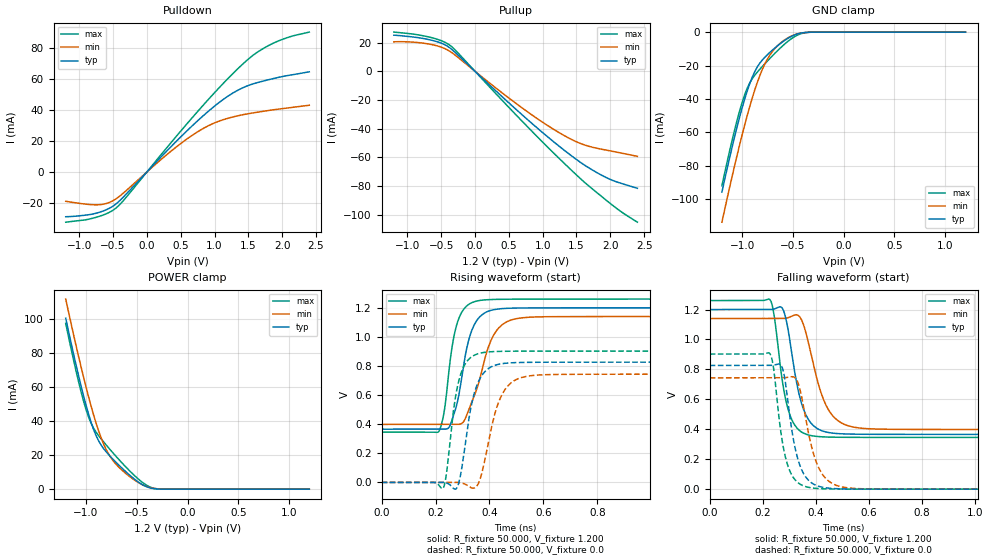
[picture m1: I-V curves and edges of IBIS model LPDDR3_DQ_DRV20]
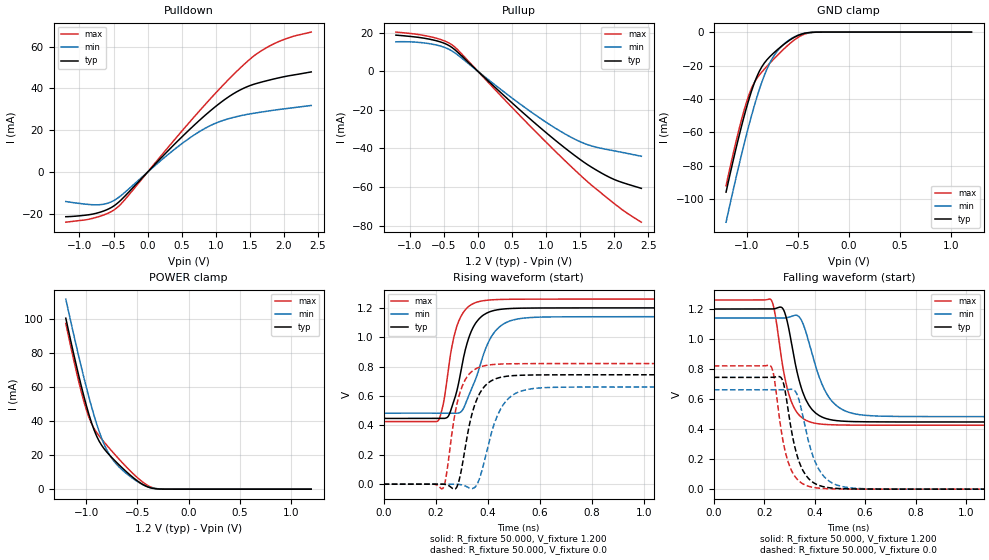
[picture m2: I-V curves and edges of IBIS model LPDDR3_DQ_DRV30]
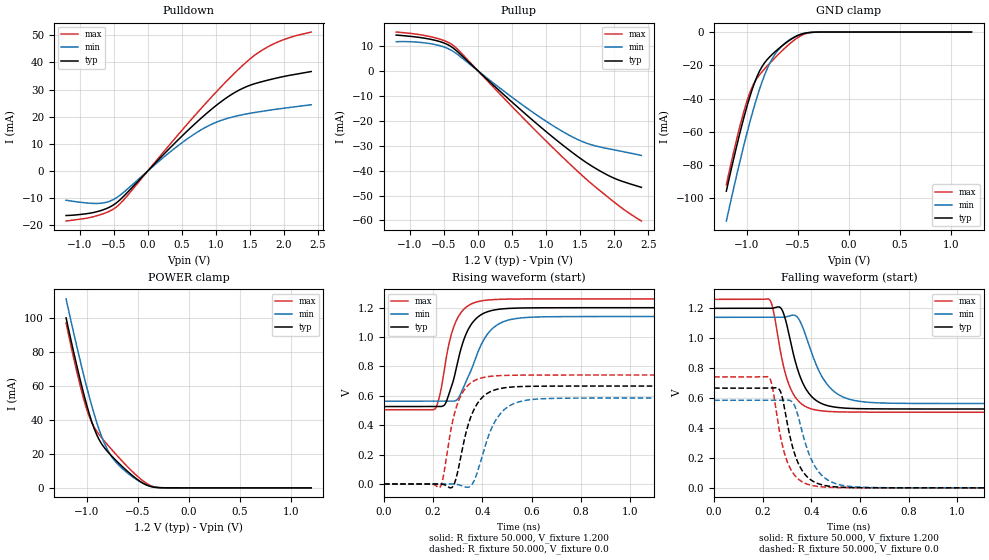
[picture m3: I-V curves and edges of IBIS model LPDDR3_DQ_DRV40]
| IBIS file created by T2B Version 16.0.1.06031   003
| Cadence Design Systems, Inc. 2011
| Simulator:  ****** HSPICE -- K-2015.06-3 win64 (Aug  6 2015) ******
[IBIS ver] 5.0
[File name]  t527_lpddr3_allwinner.ibs
[File Rev]  1.0
[Date]   June 19, 2019
|   Component aw1823_LPDDR3_post
[Component] aw1823_lpddr3_post
[Manufacturer] ALLWINNER
[Package]
| variable   typ   min   max
R_pkg   0.0   0.0   0.0
L_pkg   0.0H   0.0H   0.0H
C_pkg   0.0F   0.0F   0.0F
[Pin]  signal_name   model_name   R_pin   L_pin   C_pin
AK33	SA0	LPDDR3_CA	0.46485	3.05E-09	1.51E-12
AG30	SA1	LPDDR3_CA	0.29715	2.09E-09	1.18E-12
AJ33	SA2	LPDDR3_CA	0.41469	2.81E-09	1.29E-12
AL27	SA3	LPDDR3_CA	0.39476	2.64E-09	1.37E-12
AH25	SA4	LPDDR3_CA	0.26569	1.83E-09	1.18E-12
AK27	SA5	LPDDR3_CA	0.32888	2.30E-09	1.35E-12
AN27	SA6	LPDDR3_CA	0.44924	3.13E-09	1.41E-12
AM33	SA7	LPDDR3_CA	0.56341	3.55E-09	1.70E-12
AL25	SA8	LPDDR3_CA	0.37181	2.57E-09	1.30E-12
AJ31	SA9	LPDDR3_CA	0.35333	2.55E-09	1.35E-12
AG29	SA10	LPDDR3_CA	0.25993	1.77E-09	1.12E-12
AJ32	SA11	LPDDR3_CA	0.39611	2.51E-09	1.34E-12
AL31	SA12	LPDDR3_CA	0.44743	2.77E-09	1.52E-12
AK29	SA13	LPDDR3_CA	0.35872	2.57E-09	1.27E-12
AM28	SA14	LPDDR3_CA	0.39678	2.69E-09	1.41E-12
AN29	SA15	LPDDR3_CA	0.49091	3.23E-09	1.49E-12
AJ27	SA16	LPDDR3_CA	0.29463	1.99E-09	1.15E-12
AJ30	SA17	LPDDR3_CA	0.37981	2.66E-09	1.46E-12
AL29	SACT	LPDDR3_CA	0.39833	2.73E-09	1.39E-12
AK25	SBA0	LPDDR3_CA	0.30769	2.31E-09	1.27E-12
AJ25	SBA1	LPDDR3_CA	0.28737	2.13E-09	1.22E-12
AN26	SBG0	LPDDR3_CA	0.41285	2.93E-09	1.40E-12
AM27	SBG1	LPDDR3_CA	0.39343	2.72E-09	1.37E-12
AM31	SCKE0	LPDDR3_CA	0.48683	2.99E-09	1.55E-12
AN30	SCKN	LPDDR3_CA	0.54668	3.52E-09	1.75E-12
AM30	SCKP	LPDDR3_CA	0.56055	3.52E-09	1.79E-12
AN32	SCS0	LPDDR3_CA	0.547	3.48E-09	1.70E-12
AM32	SCS1	LPDDR3_CA	0.49003	3.16E-09	1.61E-12
AL32	SODT0	LPDDR3_CA	0.45306	2.93E-09	1.55E-12
AL33	SODT1	LPDDR3_CA	0.50697	3.45E-09	1.63E-12
AE28	SDQ0	LPDDR3_IO	0.17568	1.28E-09	8.75E-13
AE27	SDQ1	LPDDR3_IO	0.1304	1.08E-09	7.74E-13
AG32	SDQ2	LPDDR3_IO	0.33905	2.32E-09	1.24E-12
AH33	SDQ3	LPDDR3_IO	0.39769	2.70E-09	1.33E-12
AE30	SDQ4	LPDDR3_IO	0.28178	1.91E-09	1.10E-12
AD32	SDQ5	LPDDR3_IO	0.321	2.18E-09	1.25E-12
AE31	SDQ6	LPDDR3_IO	0.29187	2.02E-09	1.25E-12
AD33	SDQ7	LPDDR3_IO	0.37551	2.47E-09	1.28E-12
AC27	SDQ8	LPDDR3_IO	0.14886	1.15E-09	8.01E-13
AC28	SDQ9	LPDDR3_IO	0.17895	1.33E-09	8.71E-13
AC30	SDQ10	LPDDR3_IO	0.2394	1.64E-09	9.79E-13
AC31	SDQ11	LPDDR3_IO	0.28218	1.96E-09	1.10E-12
AA33	SDQ12	LPDDR3_IO	0.36554	2.31E-09	1.30E-12
AA31	SDQ13	LPDDR3_IO	0.30839	2.01E-09	1.17E-12
AA28	SDQ14	LPDDR3_IO	0.15212	1.33E-09	7.90E-13
AA27	SDQ15	LPDDR3_IO	0.12387	1.09E-09	8.46E-13
AM25	SDQ16	LPDDR3_IO	0.38757	2.65E-09	1.42E-12
AN25	SDQ17	LPDDR3_IO	0.42985	2.80E-09	1.31E-12
AH23	SDQ18	LPDDR3_IO	0.23213	1.61E-09	1.01E-12
AK23	SDQ19	LPDDR3_IO	0.2673	1.84E-09	1.09E-12
AL23	SDQ20	LPDDR3_IO	0.31232	2.08E-09	1.19E-12
AM22	SDQ21	LPDDR3_IO	0.36632	2.33E-09	1.35E-12
AN21	SDQ22	LPDDR3_IO	0.40833	2.68E-09	1.35E-12
AG21	SDQ23	LPDDR3_IO	0.19578	1.35E-09	8.93E-13
AG19	SDQ24	LPDDR3_IO	0.16051	1.30E-09	9.01E-13
AH19	SDQ25	LPDDR3_IO	0.21804	1.52E-09	9.58E-13
AK19	SDQ26	LPDDR3_IO	0.30686	2.04E-09	1.15E-12
AL19	SDQ27	LPDDR3_IO	0.32712	2.27E-09	1.20E-12
AM21	SDQ28	LPDDR3_IO	0.34396	2.30E-09	1.28E-12
AL21	SDQ29	LPDDR3_IO	0.3528	2.39E-09	1.25E-12
AK21	SDQ30	LPDDR3_IO	0.28636	1.94E-09	1.13E-12
AH21	SDQ31	LPDDR3_IO	0.24326	1.59E-09	1.01E-12
AE33	SDQM0	LPDDR3_IO	0.34788	2.43E-09	1.21E-12
AC32	SDQM1	LPDDR3_IO	0.3269	2.19E-09	1.20E-12
AM24	SDQM2	LPDDR3_IO	0.43004	2.77E-09	1.41E-12
AN20	SDQM3	LPDDR3_IO	0.40177	2.76E-09	1.35E-12
AF33	SDQS0N	LPDDR3_IO	0.39941	2.68E-09	1.37E-12
AF32	SDQS0P	LPDDR3_IO	0.38352	2.63E-09	1.39E-12
AB33	SDQS1N	LPDDR3_IO	0.39373	2.57E-09	1.37E-12
AB32	SDQS1P	LPDDR3_IO	0.37061	2.44E-09	1.35E-12
AN23	SDQS2N	LPDDR3_IO	0.42279	2.70E-09	1.46E-12
AM23	SDQS2P	LPDDR3_IO	0.4289	2.74E-09	1.46E-12
AN19	SDQS3N	LPDDR3_IO	0.43012	2.82E-09	1.45E-12
AM19	SDQS3P	LPDDR3_IO	0.43756	2.88E-09	1.47E-12
[Model Selector]   LPDDR3_IO
LPDDR3_DQ_DRV20   20 Ohm driving resistance for LPDDR3 DQ ( ODT OFF )
LPDDR3_DQ_DRV30   30 Ohm driving resistance for LPDDR3 DQ ( ODT OFF )
LPDDR3_DQ_DRV40   40 Ohm driving resistance for LPDDR3 DQ ( ODT OFF )
LPDDR3_DQ_DRV57   57 Ohm driving resistance for LPDDR3 DQ ( ODT OFF )
LPDDR3_DQ_DRV80   80 Ohm driving resistance for LPDDR3 DQ ( ODT OFF )
LPDDR3_ODT_60   60 ohm on die termination resistance for LPDDR3 DQ
LPDDR3_ODT_80   80 ohm on die termination resistance for LPDDR3 DQ
LPDDR3_ODT_120   120 ohm on die termination resistance for LPDDR3 DQ
LPDDR3_ODT_240   240 ohm on die termination resistance for LPDDR3 DQ
LPDDR3_ODT_off   no on die termination resistance for LPDDR3 DQ
[Model Selector]   LPDDR3_CA
LPDDR3_CA_DRV20   20 Ohm driving resistance for LPDDR3 CA ( ODT OFF )
LPDDR3_CA_DRV30   30 Ohm driving resistance for LPDDR3 CA ( ODT OFF )
LPDDR3_CA_DRV40   40 Ohm driving resistance for LPDDR3 CA ( ODT OFF )
LPDDR3_CA_DRV57   57 Ohm driving resistance for LPDDR3 CA ( ODT OFF )
LPDDR3_CA_DRV80   80 Ohm driving resistance for LPDDR3 CA ( ODT OFF )
| Models and submodels in the file (15): LPDDR3_DQ_DRV20 (I/O), LPDDR3_DQ_DRV30 (I/O), LPDDR3_DQ_DRV40 (I/O), LPDDR3_DQ_DRV57 (I/O), LPDDR3_DQ_DRV80 (I/O), LPDDR3_ODT_60 (Input), LPDDR3_ODT_80 (Input), LPDDR3_ODT_120 (Input), LPDDR3_ODT_240 (Input), LPDDR3_ODT_off (Input), LPDDR3_CA_DRV20 (3-state), LPDDR3_CA_DRV30 (3-state), LPDDR3_CA_DRV40 (3-state), LPDDR3_CA_DRV57 (3-state), LPDDR3_CA_DRV80 (3-state)
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|   Model LPDDR3_DQ_DRV20
[Model] LPDDR3_DQ_DRV20
Model_type I/O
Polarity   Non-Inverting
Enable   Active-Low
Vinl =  0.600V
Vinh =  0.600V
C_comp   1.814pF   1.746pF   1.917pF
C_comp_pullup   1.092pF   1.073pF   1.094pF
C_comp_pulldown   0.572pF   0.445pF   0.792pF
[Model Spec]
Vinh   0.600V   0.570V   0.630V
Vinl   0.600V   0.570V   0.630V
[Temperature Range]   25.000   0.125k   -40.000
[Voltage Range]   1.200V   1.140V   1.260V
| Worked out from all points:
|   slope of the pulldown table from 0 to 0.18 V, typ, clamps not added: 21.6 ohm
|   slope of the pullup table from 0 to 0.18 V, typ, clamps not added: 22.4 ohm
|   GND clamp passes 1 mA (typ) near -0.45 V on its own axis
|   POWER clamp passes 1 mA (typ) near -0.38 V on its own axis
|   rising waveform, R_fixture 50.000, V_fixture 1.200: 20-80 % time 53.8ps typ, 76.8ps min, 42.2ps max; typ from 0.366 V to 1.2 V
|   rising waveform, R_fixture 50.000, V_fixture 0.0: 20-80 % time 49.2ps typ, 61.9ps min, 41.7ps max; typ from 0 V to 0.826 V
|   falling waveform, R_fixture 50.000, V_fixture 1.200: 20-80 % time 55.3ps typ, 72.3ps min, 47ps max; typ from 1.2 V to 0.366 V
|   falling waveform, R_fixture 50.000, V_fixture 0.0: 20-80 % time 49.3ps typ, 60.2ps min, 43.8ps max; typ from 0.826 V to 0 V
[Pulldown]
|Voltage   I(typ)   I(min)   I(max)
-1.2V     -28.82mA   -18.87mA   -32.32mA
-719mV    -26.17mA   -21.12mA   -28.77mA
-460mV    -20.69mA   -17.41mA   -23.35mA
-312mV    -14.52mA   -12.24mA   -16.62mA
206mV     9.509mA    7.893mA    10.96mA
576mV     25.78mA    20.71mA    30.16mA
872mV     37.67mA    28.91mA    44.87mA
1.168V    47.87mA    34.14mA    58.75mA
1.427V    54.33mA    36.9mA     69.81mA
1.723V    58.51mA    39.04mA    79.5mA
2.019V    61.52mA    40.83mA    85.55mA
2.4V      64.43mA    42.92mA    89.98mA
[Pullup]
|Voltage   I(typ)   I(min)   I(max)
-1.2V     25.2mA     20.55mA    27.33mA
-708mV    22.35mA    19.21mA    24.19mA
-523mV    20.04mA    17.2mA     21.77mA
-375mV    16.43mA    14.02mA    18.27mA
-264mV    11.89mA    10.2mA     13.45mA
661mV     -28.85mA   -24.3mA    -33.07mA
1.031V    -44mA      -36.51mA   -50.85mA
1.327V    -55.34mA   -45.03mA   -64.55mA
1.586V    -64.38mA   -50.82mA   -76.01mA
1.882V    -72.72mA   -54.44mA   -87.69mA
2.141V    -77.82mA   -56.82mA   -97.27mA
2.4V      -81.56mA   -59.3mA    -105.2mA
[GND_clamp]
|Voltage   I(typ)   I(min)   I(max)
-1.2V     -95.73mA   -113.7mA   -91.89mA
-1.1V     -68.95mA   -86.51mA   -64.84mA
-1.025V   -50.74mA   -67.37mA   -47.06mA
-950mV    -35.1mA    -49.78mA   -33.48mA
-900mV    -26.83mA   -39.23mA   -27.79mA
-825mV    -18.46mA   -25.81mA   -22.14mA
-750mV    -13.41mA   -15.98mA   -17.2mA
-675mV    -9.342mA   -9.629mA   -12.51mA
-600mV    -5.766mA   -5.48mA    -8.156mA
-475mV    -1.482mA   -1.412mA   -2.402mA
-350mV    -108.6uA   -148.6uA   -181uA
1.2V      0A         0A         0A
[POWER_clamp]
|Voltage   I(typ)   I(min)   I(max)
-1.2V     100.2mA    111.4mA    97.13mA
-1.1V     73.3mA     84.65mA    69.74mA
-1.025V   54.87mA    65.84mA    51.77mA
-975mV    44.01mA    54.17mA    42.28mA
-925mV    34.95mA    43.45mA    35.71mA
-850mV    25.74mA    29.9mA     29.38mA
-775mV    20.11mA    20.35mA    24.04mA
-700mV    15.48mA    14.34mA    18.95mA
-575mV    8.482mA    7.639mA    11.02mA
-425mV    2.019mA    2.056mA    3.164mA
-300mV    129uA      244.9uA    195uA
1.2V      0A         0A         0A
[Ramp]
| variable   typ   min   max
dV/dt_r   0.496/49.435p   0.446/62.539p   0.542/41.778p
dV/dt_f   0.501/55.563p   0.445/73.106p   0.549/47.007p
R_load = 50.000
[Rising Waveform]
R_fixture= 50.000
V_fixture= 1.200
V_fixture_min= 1.140
V_fixture_max= 1.260
|time   V(typ)   V(min)   V(max)
0s        365.8mV    398.6mV    345.6mV
212ps     366.2mV    398.9mV    349.7mV
232ps     365.8mV    398.9mV    485.7mV
251ps     380.7mV    399mV      786.9mV
279ps     536.6mV    398.3mV    1.087V
322ps     970.8mV    493.6mV    1.222V
363ps     1.136V     702.9mV    1.25V
426ps     1.19V      1.043V     1.258V
531ps     1.199V     1.133V     1.26V
3ns       1.2V       1.14V      1.26V
[Rising Waveform]
R_fixture= 50.000
V_fixture= 0.0
V_fixture_min= 0.0
V_fixture_max= 0.0
|time   V(typ)   V(min)   V(max)
0s        1.739uV    13.74uV    1.656uV
227ps     266.5uV    -64.6uV    -42.58mV
241ps     -4.368mV   5.595uV    68.41mV
277ps     -42.68mV   356.8uV    618.9mV
303ps     167.2mV    -7.339mV   789.5mV
339ps     580.1mV    -39.84mV   869mV
380ps     754.9mV    129mV      893.3mV
447ps     816.1mV    605.5mV    900.8mV
556ps     825.4mV    733.9mV    902.2mV
3ns       826.5mV    743.7mV    902.6mV
[Falling Waveform]
R_fixture= 50.000
V_fixture= 1.200
V_fixture_min= 1.140
V_fixture_max= 1.260
|time   V(typ)   V(min)   V(max)
0s        1.2V       1.14V      1.26V
227ps     1.2V       1.14V      1.266V
243ps     1.203V     1.14V      1.157V
271ps     1.214V     1.139V     756.2mV
300ps     1.017V     1.148V     506.8mV
339ps     618.9mV    1.152V     390.8mV
388ps     428.9mV    854.7mV    356mV
458ps     375.5mV    502.4mV    347.5mV
575ps     366.8mV    406.6mV    345.9mV
3ns       365.8mV    398.6mV    345.6mV
[Falling Waveform]
R_fixture= 50.000
V_fixture= 0.0
V_fixture_min= 0.0
V_fixture_max= 0.0
|time   V(typ)   V(min)   V(max)
0s        826.5mV    743.7mV    902.6mV
227ps     826.1mV    743.6mV    905mV
241ps     828.6mV    743.5mV    804.4mV
267ps     831.2mV    743.2mV    395.2mV
294ps     596mV      747.3mV    159mV
329ps     221.3mV    726.8mV    48.72mV
380ps     47.21mV    311.8mV    9.673mV
438ps     8.957mV    70mV       2.083mV
544ps     883.3uV    5.072mV    427.3uV
3ns       1.716uV    13.74uV    1.596uV
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|   Model LPDDR3_DQ_DRV30
[Model] LPDDR3_DQ_DRV30
Model_type I/O
Polarity   Non-Inverting
Enable   Active-Low
Vinl =  0.600V
Vinh =  0.600V
C_comp   1.852pF   1.792pF   1.942pF
C_comp_pullup   1.133pF   1.127pF   1.138pF
C_comp_pulldown   0.594pF   0.462pF   0.783pF
[Model Spec]
Vinh   0.600V   0.570V   0.630V
Vinl   0.600V   0.570V   0.630V
[Temperature Range]   25.000   0.125k   -40.000
[Voltage Range]   1.200V   1.140V   1.260V
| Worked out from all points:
|   slope of the pulldown table from 0 to 0.18 V, typ, clamps not added: 29.1 ohm
|   slope of the pullup table from 0 to 0.18 V, typ, clamps not added: 30.2 ohm
|   GND clamp passes 1 mA (typ) near -0.45 V on its own axis
|   POWER clamp passes 1 mA (typ) near -0.38 V on its own axis
|   rising waveform, R_fixture 50.000, V_fixture 1.200: 20-80 % time 63.4ps typ, 85.7ps min, 51ps max; typ from 0.448 V to 1.2 V
|   rising waveform, R_fixture 50.000, V_fixture 0.0: 20-80 % time 58.9ps typ, 71.8ps min, 50.6ps max; typ from 0 V to 0.745 V
|   falling waveform, R_fixture 50.000, V_fixture 1.200: 20-80 % time 64.9ps typ, 83.6ps min, 55.3ps max; typ from 1.2 V to 0.448 V
|   falling waveform, R_fixture 50.000, V_fixture 0.0: 20-80 % time 57.7ps typ, 68.9ps min, 51.6ps max; typ from 0.745 V to 0 V
[Pulldown]
|Voltage   I(typ)   I(min)   I(max)
-1.2V     -21.34mA   -14.07mA   -23.96mA
-719mV    -19.39mA   -15.63mA   -21.33mA
-460mV    -15.35mA   -12.9mA    -17.33mA
-312mV    -10.78mA   -9.079mA   -12.35mA
206mV     7.061mA    5.856mA    8.146mA
576mV     19.14mA    15.37mA    22.41mA
872mV     27.98mA    21.46mA    33.34mA
1.168V    35.56mA    25.35mA    43.66mA
1.427V    40.38mA    27.4mA     51.89mA
1.723V    43.51mA    29mA       59.12mA
2.019V    45.76mA    30.32mA    63.66mA
2.4V      47.92mA    31.88mA    66.98mA
[Pullup]
|Voltage   I(typ)   I(min)   I(max)
-1.2V     18.64mA    15.2mA     20.22mA
-708mV    16.54mA    14.22mA    17.91mA
-523mV    14.84mA    12.73mA    16.12mA
-375mV    12.18mA    10.39mA    13.55mA
-264mV    8.82mA     7.563mA    9.982mA
661mV     -21.41mA   -18.03mA   -24.56mA
1.031V    -32.67mA   -27.09mA   -37.76mA
1.327V    -41.09mA   -33.42mA   -47.94mA
1.586V    -47.81mA   -37.73mA   -56.47mA
1.882V    -54.04mA   -40.44mA   -65.15mA
2.141V    -57.88mA   -42.21mA   -72.29mA
2.4V      -60.67mA   -44.06mA   -78.19mA
[GND_clamp]
|Voltage   I(typ)   I(min)   I(max)
-1.2V     -95.73mA   -113.7mA   -91.89mA
-1.1V     -68.95mA   -86.51mA   -64.84mA
-1.025V   -50.74mA   -67.37mA   -47.06mA
-950mV    -35.1mA    -49.78mA   -33.48mA
-900mV    -26.83mA   -39.23mA   -27.79mA
-825mV    -18.46mA   -25.81mA   -22.14mA
-750mV    -13.41mA   -15.98mA   -17.2mA
-675mV    -9.342mA   -9.629mA   -12.51mA
-600mV    -5.766mA   -5.48mA    -8.156mA
-475mV    -1.482mA   -1.412mA   -2.402mA
-350mV    -108.6uA   -148.6uA   -181uA
1.2V      0A         0A         0A
[POWER_clamp]
|Voltage   I(typ)   I(min)   I(max)
-1.2V     100.2mA    111.4mA    97.13mA
-1.1V     73.3mA     84.65mA    69.74mA
-1.025V   54.87mA    65.84mA    51.77mA
-975mV    44.01mA    54.17mA    42.28mA
-925mV    34.95mA    43.45mA    35.71mA
-850mV    25.74mA    29.9mA     29.38mA
-775mV    20.11mA    20.35mA    24.04mA
-700mV    15.48mA    14.34mA    18.95mA
-575mV    8.482mA    7.639mA    11.02mA
-425mV    2.019mA    2.056mA    3.164mA
-300mV    129uA      244.9uA    195uA
1.2V      0A         0A         0A
[Ramp]
| variable   typ   min   max
dV/dt_r   0.447/58.787p   0.397/72.515p   0.493/50.586p
dV/dt_f   0.451/64.946p   0.394/83.920p   0.501/55.323p
R_load = 50.000
[Rising Waveform]
R_fixture= 50.000
V_fixture= 1.200
V_fixture_min= 1.140
V_fixture_max= 1.260
|time   V(typ)   V(min)   V(max)
0s        447.5mV    483.2mV    425.8mV
210ps     447.8mV    483.5mV    433.1mV
231ps     447.6mV    483.6mV    561.3mV
249ps     463.5mV    483.5mV    786.8mV
285ps     660.8mV    483.6mV    1.093V
329ps     1.005V     610.7mV    1.213V
381ps     1.148V     867.9mV    1.248V
445ps     1.189V     1.07V      1.257V
566ps     1.199V     1.134V     1.26V
3ns       1.2V       1.14V      1.26V
[Rising Waveform]
R_fixture= 50.000
V_fixture= 0.0
V_fixture_min= 0.0
V_fixture_max= 0.0
|time   V(typ)   V(min)   V(max)
0s        1.811uV    16.41uV    1.475uV
227ps     157.7uV    12.29uV    -30.43mV
241ps     -3.597mV   84.3uV     60.26mV
277ps     -29.77mV   293.6uV    505.5mV
307ps     177.7mV    -7.724mV   687.6mV
352ps     549mV      -19.3mV    782.8mV
396ps     680mV      219.8mV    809.1mV
468ps     733.3mV    560.5mV    818.7mV
588ps     743.6mV    653.4mV    820.7mV
3ns       744.8mV    661.8mV    821.1mV
[Falling Waveform]
R_fixture= 50.000
V_fixture= 1.200
V_fixture_min= 1.140
V_fixture_max= 1.260
|time   V(typ)   V(min)   V(max)
0s        1.2V       1.14V      1.26V
226ps     1.2V       1.14V      1.263V
243ps     1.203V     1.14V      1.166V
271ps     1.208V     1.14V      842.3mV
303ps     1.019V     1.148V     603.3mV
345ps     685.2mV    1.133V     482.4mV
409ps     500.3mV    790.2mV    436.8mV
485ps     456.9mV    558.6mV    428mV
612ps     448.6mV    490.3mV    426.2mV
3ns       447.5mV    483.2mV    425.8mV
[Falling Waveform]
R_fixture= 50.000
V_fixture= 0.0
V_fixture_min= 0.0
V_fixture_max= 0.0
|time   V(typ)   V(min)   V(max)
0s        744.8mV    661.8mV    821.1mV
226ps     744.5mV    661.6mV    820mV
240ps     746.2mV    661.5mV    735.7mV
266ps     744.1mV    661.4mV    404.8mV
293ps     546.7mV    664.1mV    189.9mV
328ps     237.2mV    639.1mV    70.6mV
400ps     38.25mV    189.2mV    10.13mV
467ps     7.65mV     43.16mV    2.165mV
581ps     878.3uV    4.016mV    408.4uV
3ns       1.799uV    16.41uV    1.465uV
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|   Model LPDDR3_DQ_DRV40
[Model] LPDDR3_DQ_DRV40
Model_type I/O
Polarity   Non-Inverting
Enable   Active-Low
Vinl =  0.600V
Vinh =  0.600V
C_comp   1.881pF   1.825pF   1.964pF
C_comp_pullup   1.155pF   1.150pF   1.162pF
C_comp_pulldown   0.564pF   0.463pF   0.781pF
[Model Spec]
Vinh   0.600V   0.570V   0.630V
Vinl   0.600V   0.570V   0.630V
[Temperature Range]   25.000   0.125k   -40.000
[Voltage Range]   1.200V   1.140V   1.260V
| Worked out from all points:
|   slope of the pulldown table from 0 to 0.18 V, typ, clamps not added: 38.1 ohm
|   slope of the pullup table from 0 to 0.18 V, typ, clamps not added: 39.4 ohm
|   GND clamp passes 1 mA (typ) near -0.45 V on its own axis
|   POWER clamp passes 1 mA (typ) near -0.38 V on its own axis
|   rising waveform, R_fixture 50.000, V_fixture 1.200: 20-80 % time 72.6ps typ, 94.4ps min, 59.8ps max; typ from 0.527 V to 1.2 V
|   rising waveform, R_fixture 50.000, V_fixture 0.0: 20-80 % time 68.4ps typ, 81.5ps min, 59.4ps max; typ from 0 V to 0.667 V
|   falling waveform, R_fixture 50.000, V_fixture 1.200: 20-80 % time 74.7ps typ, 96.3ps min, 63.9ps max; typ from 1.2 V to 0.527 V
|   falling waveform, R_fixture 50.000, V_fixture 0.0: 20-80 % time 66.3ps typ, 77.6ps min, 59.5ps max; typ from 0.667 V to 0 V
[Pulldown]
|Voltage   I(typ)   I(min)   I(max)
-1.2V     -16.42mA   -10.8mA    -18.45mA
-719mV    -14.82mA   -11.96mA   -16.3mA
-460mV    -11.74mA   -9.873mA   -13.25mA
-312mV    -8.25mA    -6.948mA   -9.449mA
206mV     5.403mA    4.48mA     6.234mA
576mV     14.64mA    11.75mA    17.14mA
872mV     21.39mA    16.4mA     25.5mA
1.168V    27.17mA    19.35mA    33.39mA
1.427V    30.82mA    20.91mA    39.66mA
1.723V    33.21mA    22.14mA    45.17mA
2.019V    34.93mA    23.18mA    48.6mA
2.4V      36.64mA    24.4mA     51.19mA
[Pullup]
|Voltage   I(typ)   I(min)   I(max)
-1.2V     14.31mA    11.65mA    15.53mA
-708mV    12.68mA    10.89mA    13.73mA
-523mV    11.38mA    9.756mA    12.36mA
-375mV    9.343mA    7.963mA    10.39mA
-264mV    6.766mA    5.799mA    7.66mA
661mV     -16.42mA   -13.82mA   -18.84mA
1.031V    -25.06mA   -20.77mA   -28.98mA
1.327V    -31.52mA   -25.62mA   -36.79mA
1.586V    -36.68mA   -28.93mA   -43.33mA
1.882V    -41.49mA   -31.05mA   -50.05mA
2.067V    -43.79mA   -32.06mA   -54.05mA
2.4V      -46.71mA   -33.91mA   -60.21mA
[GND_clamp]
|Voltage   I(typ)   I(min)   I(max)
-1.2V     -95.73mA   -113.7mA   -91.89mA
-1.1V     -68.95mA   -86.51mA   -64.84mA
-1.025V   -50.74mA   -67.37mA   -47.06mA
-950mV    -35.1mA    -49.78mA   -33.48mA
-900mV    -26.83mA   -39.23mA   -27.79mA
-825mV    -18.46mA   -25.81mA   -22.14mA
-750mV    -13.41mA   -15.98mA   -17.2mA
-675mV    -9.342mA   -9.629mA   -12.51mA
-600mV    -5.766mA   -5.48mA    -8.156mA
-475mV    -1.482mA   -1.412mA   -2.402mA
-350mV    -108.6uA   -148.6uA   -181uA
1.2V      0A         0A         0A
[POWER_clamp]
|Voltage   I(typ)   I(min)   I(max)
-1.2V     100.2mA    111.4mA    97.13mA
-1.1V     73.3mA     84.65mA    69.74mA
-1.025V   54.87mA    65.84mA    51.77mA
-975mV    44.01mA    54.17mA    42.28mA
-925mV    34.95mA    43.45mA    35.71mA
-850mV    25.74mA    29.9mA     29.38mA
-775mV    20.11mA    20.35mA    24.04mA
-700mV    15.48mA    14.34mA    18.95mA
-575mV    8.482mA    7.639mA    11.02mA
-425mV    2.019mA    2.056mA    3.164mA
-300mV    129uA      244.9uA    195uA
1.2V      0A         0A         0A
[Ramp]
| variable   typ   min   max
dV/dt_r   0.400/68.609p   0.351/81.745p   0.445/59.388p
dV/dt_f   0.404/74.910p   0.346/96.859p   0.453/64.043p
R_load = 50.000
[Rising Waveform]
R_fixture= 50.000
V_fixture= 1.200
V_fixture_min= 1.140
V_fixture_max= 1.260
|time   V(typ)   V(min)   V(max)
0s        527mV      563.5mV    505.3mV
208ps     527.2mV    563.8mV    511.3mV
229ps     527.2mV    563.8mV    619.7mV
250ps     547.6mV    563.7mV    828.2mV
294ps     787.5mV    570mV      1.112V
339ps     1.04V      717.8mV    1.21V
406ps     1.162V     983.1mV    1.249V
484ps     1.192V     1.103V     1.258V
618ps     1.199V     1.137V     1.26V
3ns       1.2V       1.14V      1.26V
[Rising Waveform]
R_fixture= 50.000
V_fixture= 0.0
V_fixture_min= 0.0
V_fixture_max= 0.0
|time   V(typ)   V(min)   V(max)
0s        2.285uV    19.19uV    2.031uV
228ps     114.5uV    7.164uV    -21.18mV
242ps     -3.421mV   26.58uV    56.95mV
277ps     -22.58mV   334.3uV    410.9mV
313ps     190.7mV    -9.578mV   603mV
358ps     477.6mV    -3.128mV   694.2mV
419ps     615.8mV    299.9mV    729.8mV
488ps     654.3mV    504.7mV    738.8mV
618ps     665.4mV    577.5mV    741.5mV
3ns       666.8mV    585.2mV    741.9mV
[Falling Waveform]
R_fixture= 50.000
V_fixture= 1.200
V_fixture_min= 1.140
V_fixture_max= 1.260
|time   V(typ)   V(min)   V(max)
0s        1.2V       1.14V      1.26V
227ps     1.2V       1.14V      1.26V
243ps     1.202V     1.14V      1.189V
273ps     1.204V     1.14V      909.4mV
305ps     1.047V     1.147V     701.4mV
345ps     782.5mV    1.136V     583.1mV
430ps     573mV      785.2mV    517.1mV
514ps     536.2mV    620.4mV    507.8mV
654ps     528.1mV    569.6mV    505.7mV
3ns       527mV      563.5mV    505.3mV
[Falling Waveform]
R_fixture= 50.000
V_fixture= 0.0
V_fixture_min= 0.0
V_fixture_max= 0.0
|time   V(typ)   V(min)   V(max)
0s        666.8mV    585.2mV    741.9mV
224ps     666.6mV    585.1mV    740.3mV
240ps     667.6mV    585.1mV    671.8mV
265ps     663mV      584.9mV    411.4mV
298ps     454.7mV    586.6mV    186.5mV
340ps     186.8mV    509.3mV    67.71mV
415ps     36.54mV    141.2mV    11.84mV
493ps     7.219mV    31.92mV    2.411mV
623ps     796.3uV    3.071mV    369.9uV
3ns       2.283uV    19.18uV    2.042uV
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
